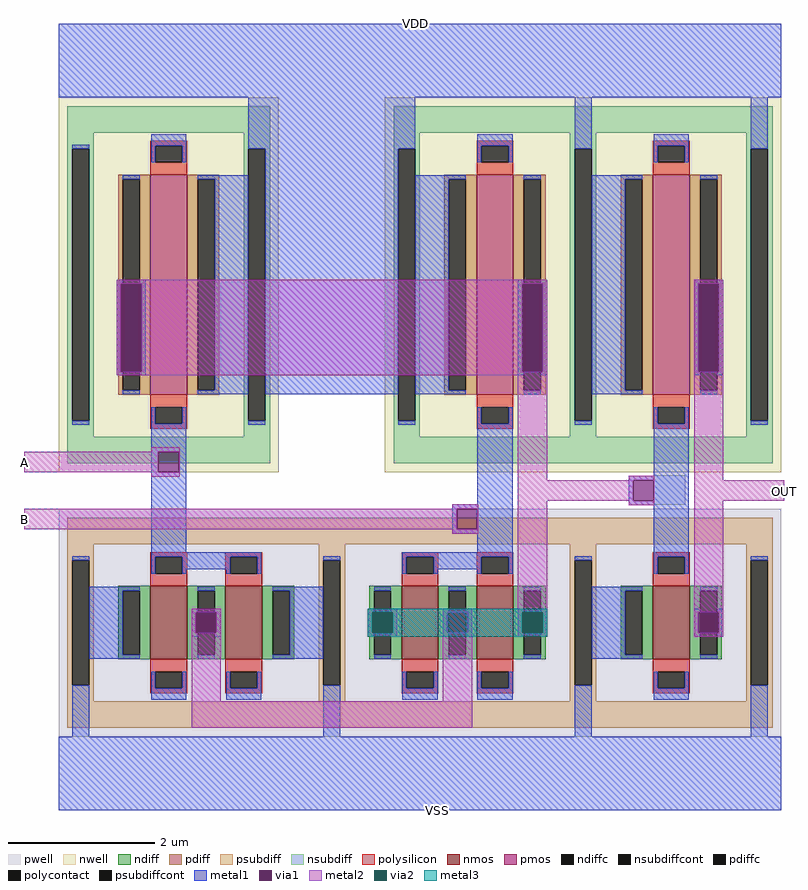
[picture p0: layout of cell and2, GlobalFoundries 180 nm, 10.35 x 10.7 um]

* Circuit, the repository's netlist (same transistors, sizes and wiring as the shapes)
* NGSPICE file created from and2.ext - technology: gf180mcuD

.subckt inv2 in vdd out vss
X0 out in vdd vdd pfet_03v3 ad=1.32p pd=6.88u as=1.32p ps=6.88u w=3u l=0.5u
X1 out in vss vss nfet_03v3 ad=0.44p pd=2.88u as=0.44p ps=2.88u w=1u l=0.5u
.ends

.subckt nand2 VDD OUT A B VSS
X0 a_1640_n650# A OUT VSS nfet_03v3 ad=0.26p pd=1.52u as=0.44p ps=2.88u w=1u l=0.5u
X1 VDD B OUT VDD pfet_03v3 ad=1.32p pd=6.88u as=1.32p ps=6.88u w=3u l=0.5u
X2 VSS B a_1640_n650# VSS nfet_03v3 ad=0.44p pd=2.88u as=0.26p ps=1.52u w=1u l=0.5u
X3 OUT A VDD VDD pfet_03v3 ad=1.32p pd=6.88u as=1.32p ps=6.88u w=3u l=0.5u
X4 OUT A a_1640_n650# VSS nfet_03v3 ad=0.44p pd=2.88u as=0.26p ps=1.52u w=1u l=0.5u
X5 a_1640_n650# B VSS VSS nfet_03v3 ad=0.26p pd=1.52u as=0.44p ps=2.88u w=1u l=0.5u
.ends

.subckt and2 VDD OUT A B VSS
Xinv2_0 inv2_0/in VDD OUT VSS inv2
Xnand2_0 VDD inv2_0/in B A VSS nand2
.ends

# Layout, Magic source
magic
tech gf180mcuD
magscale 1 10
<< nwell >>
rect -1553 910 -953 1930
rect -665 910 415 1930
<< pwell >>
rect 67 821 153 901
rect -1553 190 415 810
<< nmos >>
rect -1303 400 -1203 600
rect -1099 400 -999 600
rect -619 400 -519 600
rect -415 400 -315 600
rect 65 400 165 600
<< pmos >>
rect -1303 1120 -1203 1720
rect -415 1120 -315 1720
rect 65 1120 165 1720
<< ndiff >>
rect -1391 587 -1303 600
rect -1391 413 -1378 587
rect -1332 413 -1303 587
rect -1391 400 -1303 413
rect -1203 587 -1099 600
rect -1203 413 -1174 587
rect -1128 413 -1099 587
rect -1203 400 -1099 413
rect -999 587 -911 600
rect -999 413 -970 587
rect -924 413 -911 587
rect -999 400 -911 413
rect -707 587 -619 600
rect -707 413 -694 587
rect -648 413 -619 587
rect -707 400 -619 413
rect -519 587 -415 600
rect -519 413 -490 587
rect -444 413 -415 587
rect -519 400 -415 413
rect -315 587 -227 600
rect -315 413 -286 587
rect -240 413 -227 587
rect -315 400 -227 413
rect -23 587 65 600
rect -23 413 -10 587
rect 36 413 65 587
rect -23 400 65 413
rect 165 587 253 600
rect 165 413 194 587
rect 240 413 253 587
rect 165 400 253 413
<< pdiff >>
rect -1391 1707 -1303 1720
rect -1391 1133 -1378 1707
rect -1332 1133 -1303 1707
rect -1391 1120 -1303 1133
rect -1203 1707 -1115 1720
rect -1203 1133 -1174 1707
rect -1128 1133 -1115 1707
rect -1203 1120 -1115 1133
rect -503 1707 -415 1720
rect -503 1133 -490 1707
rect -444 1133 -415 1707
rect -503 1120 -415 1133
rect -315 1707 -227 1720
rect -315 1133 -286 1707
rect -240 1133 -227 1707
rect -315 1120 -227 1133
rect -23 1707 65 1720
rect -23 1133 -10 1707
rect 36 1133 65 1707
rect -23 1120 65 1133
rect 165 1707 253 1720
rect 165 1133 194 1707
rect 240 1133 253 1707
rect 165 1120 253 1133
<< ndiffc >>
rect -1378 413 -1332 587
rect -1174 413 -1128 587
rect -970 413 -924 587
rect -694 413 -648 587
rect -490 413 -444 587
rect -286 413 -240 587
rect -10 413 36 587
rect 194 413 240 587
<< pdiffc >>
rect -1378 1133 -1332 1707
rect -1174 1133 -1128 1707
rect -490 1133 -444 1707
rect -286 1133 -240 1707
rect -10 1133 36 1707
rect 194 1133 240 1707
<< psubdiff >>
rect -1529 714 391 786
rect -1529 670 -1457 714
rect -1529 330 -1516 670
rect -1470 330 -1457 670
rect -845 670 -773 714
rect -1529 286 -1457 330
rect -845 330 -832 670
rect -786 330 -773 670
rect -161 670 -89 714
rect -845 286 -773 330
rect -161 330 -148 670
rect -102 330 -89 670
rect 319 670 391 714
rect -161 286 -89 330
rect 319 330 332 670
rect 378 330 391 670
rect 319 286 391 330
rect -1529 214 391 286
<< nsubdiff >>
rect -1529 1834 -977 1906
rect -1529 1790 -1457 1834
rect -1529 1050 -1516 1790
rect -1470 1050 -1457 1790
rect -1049 1790 -977 1834
rect -1529 1006 -1457 1050
rect -1049 1050 -1036 1790
rect -990 1050 -977 1790
rect -1049 1006 -977 1050
rect -1529 934 -977 1006
rect -641 1834 391 1906
rect -641 1790 -569 1834
rect -641 1050 -628 1790
rect -582 1050 -569 1790
rect -161 1790 -89 1834
rect -641 1006 -569 1050
rect -161 1050 -148 1790
rect -102 1050 -89 1790
rect 319 1790 391 1834
rect -161 1006 -89 1050
rect 319 1050 332 1790
rect 378 1050 391 1790
rect 319 1006 391 1050
rect -641 934 391 1006
<< psubdiffcont >>
rect -1516 330 -1470 670
rect -832 330 -786 670
rect -148 330 -102 670
rect 332 330 378 670
<< nsubdiffcont >>
rect -1516 1050 -1470 1790
rect -1036 1050 -990 1790
rect -628 1050 -582 1790
rect -148 1050 -102 1790
rect 332 1050 378 1790
<< polysilicon >>
rect -1303 1799 -1203 1812
rect -1303 1753 -1290 1799
rect -1216 1753 -1203 1799
rect -1303 1720 -1203 1753
rect -1303 1087 -1203 1120
rect -1303 1041 -1290 1087
rect -1216 1041 -1203 1087
rect -1303 1028 -1203 1041
rect -415 1799 -315 1812
rect -415 1753 -402 1799
rect -328 1753 -315 1799
rect -415 1720 -315 1753
rect -415 1087 -315 1120
rect -415 1041 -402 1087
rect -328 1041 -315 1087
rect -415 1028 -315 1041
rect 65 1799 165 1812
rect 65 1753 78 1799
rect 152 1753 165 1799
rect 65 1720 165 1753
rect 65 1087 165 1120
rect 65 1041 78 1087
rect 152 1041 165 1087
rect 65 1028 165 1041
rect -1303 679 -1203 692
rect -1303 633 -1290 679
rect -1216 633 -1203 679
rect -1303 600 -1203 633
rect -1099 679 -999 692
rect -1099 633 -1086 679
rect -1012 633 -999 679
rect -1099 600 -999 633
rect -1303 367 -1203 400
rect -1303 321 -1290 367
rect -1216 321 -1203 367
rect -1303 308 -1203 321
rect -1099 367 -999 400
rect -1099 321 -1086 367
rect -1012 321 -999 367
rect -1099 308 -999 321
rect -619 679 -519 692
rect -619 633 -606 679
rect -532 633 -519 679
rect -619 600 -519 633
rect -415 679 -315 692
rect -415 633 -402 679
rect -328 633 -315 679
rect -415 600 -315 633
rect -619 367 -519 400
rect -619 321 -606 367
rect -532 321 -519 367
rect -619 308 -519 321
rect -415 367 -315 400
rect -415 321 -402 367
rect -328 321 -315 367
rect -415 308 -315 321
rect 65 679 165 692
rect 65 633 78 679
rect 152 633 165 679
rect 65 600 165 633
rect 65 367 165 400
rect 65 321 78 367
rect 152 321 165 367
rect 65 308 165 321
<< polycontact >>
rect -1290 1753 -1216 1799
rect -1290 1041 -1216 1087
rect -402 1753 -328 1799
rect -402 1041 -328 1087
rect 78 1753 152 1799
rect 78 1041 152 1087
rect -1290 633 -1216 679
rect -1086 633 -1012 679
rect -1290 321 -1216 367
rect -1086 321 -1012 367
rect -606 633 -532 679
rect -402 633 -328 679
rect -606 321 -532 367
rect -402 321 -328 367
rect 78 633 152 679
rect 78 321 152 367
<< metal1 >>
rect -1553 1930 415 2130
rect -1516 1790 -1470 1801
rect -1301 1799 -1205 1830
rect -1301 1753 -1290 1799
rect -1216 1753 -1205 1799
rect -1036 1790 -582 1930
rect -1378 1707 -1332 1718
rect -1395 1423 -1378 1433
rect -1174 1707 -1036 1718
rect -1332 1423 -1315 1433
rect -1395 1183 -1383 1423
rect -1327 1183 -1315 1423
rect -1395 1173 -1378 1183
rect -1332 1173 -1315 1183
rect -1378 1122 -1332 1133
rect -1128 1133 -1036 1707
rect -1174 1122 -1036 1133
rect -1516 1039 -1470 1050
rect -1301 1041 -1290 1087
rect -1216 1041 -1205 1087
rect -1301 966 -1205 1041
rect -990 1122 -628 1790
rect -1036 1039 -990 1050
rect -413 1799 -317 1830
rect -413 1753 -402 1799
rect -328 1753 -317 1799
rect -148 1790 -102 1930
rect -582 1707 -444 1718
rect -582 1133 -490 1707
rect -286 1707 -240 1718
rect -303 1423 -286 1433
rect -240 1423 -223 1433
rect -303 1183 -291 1423
rect -235 1183 -223 1423
rect -303 1173 -286 1183
rect -582 1122 -444 1133
rect -240 1173 -223 1183
rect -286 1122 -240 1133
rect -628 1039 -582 1050
rect -413 1041 -402 1087
rect -328 1041 -317 1087
rect -1301 910 -1281 966
rect -1225 910 -1205 966
rect -1301 692 -1205 910
rect -413 822 -317 1041
rect 67 1799 163 1830
rect 67 1753 78 1799
rect 152 1753 163 1799
rect 332 1790 378 1930
rect -102 1707 36 1718
rect -102 1133 -10 1707
rect 194 1707 240 1718
rect 177 1423 194 1433
rect 240 1423 257 1433
rect 177 1183 189 1423
rect 245 1183 257 1423
rect 177 1173 194 1183
rect -102 1122 36 1133
rect 240 1173 257 1183
rect 194 1122 240 1133
rect -148 1039 -102 1050
rect 67 1041 78 1087
rect 152 1041 163 1087
rect 67 900 163 1041
rect 332 1039 378 1050
rect -481 810 -317 822
rect -1 888 163 900
rect -1 832 11 888
rect 67 832 163 888
rect -1 820 163 832
rect -481 754 -469 810
rect -413 754 -317 810
rect -481 742 -317 754
rect -413 692 -317 742
rect -1516 670 -1470 681
rect -1301 679 -1001 692
rect -1301 633 -1290 679
rect -1216 646 -1086 679
rect -1216 633 -1205 646
rect -1097 633 -1086 646
rect -1012 633 -1001 679
rect -832 670 -786 681
rect -1470 587 -1332 598
rect -1470 413 -1378 587
rect -1174 587 -1128 598
rect -1191 528 -1174 538
rect -970 587 -832 598
rect -1128 528 -1111 538
rect -1191 472 -1179 528
rect -1123 472 -1111 528
rect -1191 462 -1174 472
rect -1470 402 -1332 413
rect -1128 462 -1111 472
rect -1174 402 -1128 413
rect -924 413 -832 587
rect -970 402 -832 413
rect -1516 190 -1470 330
rect -1301 321 -1290 367
rect -1216 321 -1205 367
rect -1301 290 -1205 321
rect -1097 321 -1086 367
rect -1012 321 -1001 367
rect -1097 290 -1001 321
rect -617 679 -317 692
rect -617 633 -606 679
rect -532 646 -402 679
rect -532 633 -521 646
rect -413 633 -402 646
rect -328 633 -317 679
rect -148 670 -102 681
rect -694 587 -648 598
rect -711 528 -694 538
rect -490 587 -444 598
rect -648 528 -631 538
rect -711 472 -699 528
rect -643 472 -631 528
rect -711 462 -694 472
rect -648 462 -631 472
rect -507 528 -490 538
rect -286 587 -240 598
rect -444 528 -427 538
rect -507 472 -495 528
rect -439 472 -427 528
rect -507 462 -490 472
rect -694 402 -648 413
rect -444 462 -427 472
rect -303 528 -286 538
rect -240 528 -223 538
rect -303 472 -291 528
rect -235 472 -223 528
rect -303 462 -286 472
rect -490 402 -444 413
rect -240 462 -223 472
rect -286 402 -240 413
rect -832 190 -786 330
rect -617 321 -606 367
rect -532 321 -521 367
rect -617 290 -521 321
rect -413 321 -402 367
rect -328 321 -317 367
rect -413 290 -317 321
rect 67 679 163 820
rect 67 633 78 679
rect 152 633 163 679
rect 332 670 378 681
rect -102 587 36 598
rect -102 413 -10 587
rect 194 587 240 598
rect 177 528 194 538
rect 240 528 257 538
rect 177 472 189 528
rect 245 472 257 528
rect 177 462 194 472
rect -102 402 36 413
rect 240 462 257 472
rect 194 402 240 413
rect -148 190 -102 330
rect 67 321 78 367
rect 152 321 163 367
rect 67 290 163 321
rect 332 190 378 330
rect -1553 -10 415 190
<< via1 >>
rect -1383 1183 -1378 1423
rect -1378 1183 -1332 1423
rect -1332 1183 -1327 1423
rect -291 1183 -286 1423
rect -286 1183 -240 1423
rect -240 1183 -235 1423
rect -1281 910 -1225 966
rect 189 1183 194 1423
rect 194 1183 240 1423
rect 240 1183 245 1423
rect 11 832 67 888
rect -469 754 -413 810
rect -1179 472 -1174 528
rect -1174 472 -1128 528
rect -1128 472 -1123 528
rect -699 472 -694 528
rect -694 472 -648 528
rect -648 472 -643 528
rect -495 472 -490 528
rect -490 472 -444 528
rect -444 472 -439 528
rect -291 472 -286 528
rect -286 472 -240 528
rect -240 472 -235 528
rect 189 472 194 528
rect 194 472 240 528
rect 240 472 245 528
<< metal2 >>
rect -1395 1423 -223 1433
rect -1395 1183 -1383 1423
rect -1327 1183 -291 1423
rect -235 1183 -223 1423
rect -1395 1173 -223 1183
rect -1301 966 -1223 978
rect -1647 910 -1281 966
rect -1225 910 -1223 966
rect -1301 898 -1223 910
rect -303 888 -223 1173
rect 177 1423 257 1433
rect 177 1183 189 1423
rect 245 1183 257 1423
rect -1 888 69 900
rect -303 832 11 888
rect 67 832 69 888
rect -481 810 -411 822
rect -1647 754 -469 810
rect -413 754 -411 810
rect -481 742 -411 754
rect -1191 528 -1111 538
rect -1191 472 -1179 528
rect -1123 472 -1111 528
rect -1191 286 -1111 472
rect -711 528 -631 538
rect -711 472 -699 528
rect -643 472 -631 528
rect -711 462 -631 472
rect -507 528 -427 538
rect -507 472 -495 528
rect -439 472 -427 528
rect -507 286 -427 472
rect -303 528 -223 832
rect -1 820 69 832
rect 177 888 257 1183
rect 177 832 422 888
rect -303 472 -291 528
rect -235 472 -223 528
rect -303 462 -223 472
rect 177 528 257 832
rect 177 472 189 528
rect 245 472 257 528
rect 177 462 257 472
rect -1191 214 -427 286
<< via2 >>
rect -699 472 -643 528
rect -291 472 -235 528
<< metal3 >>
rect -711 528 -223 538
rect -711 472 -699 528
rect -643 472 -291 528
rect -235 472 -223 528
rect -711 462 -223 472
<< labels >>
rlabel metal1 -580 2130 -580 2130 1 VDD
port 0 n
rlabel metal2 422 858 422 858 3 OUT
port 1 e
rlabel metal2 -1647 937 -1647 937 7 A
port 2 w
rlabel metal2 -1647 782 -1647 782 7 B
port 3 w
rlabel metal1 -521 -10 -521 -10 5 VSS
port 4 s
<< end >>
